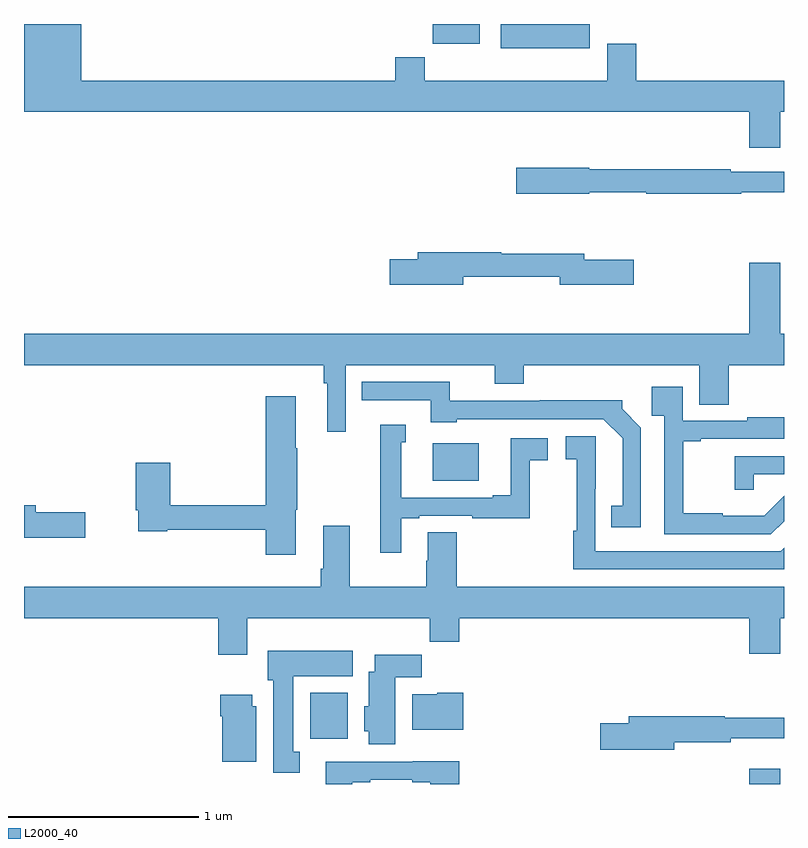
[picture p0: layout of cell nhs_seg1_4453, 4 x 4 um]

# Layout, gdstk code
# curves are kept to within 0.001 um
import gdstk
lib = gdstk.Library(unit=1e-6, precision=1e-09)
def R(c, l, rs):  # rectangles x0, y0, x1, y1
    for r in rs: c.add(gdstk.rectangle(r[:2], r[2:], *l))
def P(c, l, *ps):  # polygons
    for p in ps: c.add(gdstk.Polygon(p, *l))
L2000_40 = (2000, 40)

nhs_seg1_4453 = lib.new_cell('nhs_seg1_4453')
R(nhs_seg1_4453, L2000_40, [(356.816,544.199,356.98,544.279), (354.506,544.436,354.703,544.678), (355.151,545.795,355.393,545.992), (355.509,548.072,355.978,548.199), (355.15,548.094,355.399,548.199)])
P(nhs_seg1_4453, L2000_40, [(356.98,547.736),(357,547.736),(357,547.9),(356.222,547.9),(356.222,548.095),(356.069,548.095),(356.069,547.9),(355.109,547.9),(355.109,548.024),(354.953,548.024),(354.953,547.9),(353.302,547.9),(353.302,548.199),(353,548.199),(353,547.736),(356.816,547.736),(356.816,547.548),(356.98,547.548)],
  [(355.974,547.314),(356.274,547.314),(356.274,547.306),(356.774,547.306),(356.774,547.314),(357,547.314),(357,547.422),(356.72,547.422),(356.72,547.435),(355.974,547.435),(355.974,547.443),(355.59,547.443),(355.59,547.306),(355.974,547.306)],
  [(355.312,546.87),(355.82,546.87),(355.82,546.827),(356.209,546.827),(356.209,546.957),(355.948,546.957),(355.948,546.991),(355.511,546.991),(355.511,546.998),(355.073,546.998),(355.073,546.962),(354.924,546.962),(354.924,546.827),(355.312,546.827)],
  [(354.693,546.404),(355.478,546.404),(355.478,546.305),(355.631,546.305),(355.631,546.404),(356.555,546.404),(356.555,546.196),(356.708,546.196),(356.708,546.404),(357,546.404),(357,546.568),(356.98,546.568),(356.98,546.943),(356.816,546.943),(356.816,546.568),(353,546.568),(353,546.404),(354.577,546.404),(354.577,546.308),(354.596,546.308),(354.596,546.054),(354.693,546.054)],
  [(356.247,546.074),(356.148,546.173),(356.148,546.218),(355.714,546.218),(355.714,546.216),(355.242,546.216),(355.242,546.315),(354.778,546.315),(354.778,546.219),(355.142,546.219),(355.142,546.104),(355.278,546.104),(355.278,546.12),(356.049,546.12),(356.15,546.019),(356.15,545.663),(356.092,545.663),(356.092,545.55),(356.247,545.55)],
  [(357,545.583),(357,545.715),(356.896,545.611),(356.678,545.611),(356.678,545.623),(356.471,545.623),(356.471,546.003),(356.563,546.003),(356.563,546.015),(357,546.015),(357,546.13),(356.807,546.13),(356.807,546.111),(356.466,546.111),(356.466,546.289),(356.305,546.289),(356.305,546.137),(356.37,546.137),(356.37,545.514),(356.931,545.514)],
  [(354.43,545.643),(354.438,545.643),(354.438,545.966),(354.43,545.966),(354.43,546.241),(354.272,546.241),(354.272,545.666),(353.771,545.666),(353.771,545.89),(353.588,545.89),(353.588,545.641),(353.6,545.641),(353.6,545.53),(353.754,545.53),(353.754,545.538),(354.272,545.538),(354.272,545.406),(354.43,545.406)],
  [(354.985,545.598),(355.081,545.598),(355.081,545.61),(355.36,545.61),(355.36,545.598),(355.662,545.598),(355.662,545.902),(355.756,545.902),(355.756,546.018),(355.562,546.018),(355.562,545.719),(355.466,545.719),(355.466,545.706),(354.985,545.706),(354.985,545.997),(355.009,545.997),(355.009,546.091),(354.876,546.091),(354.876,545.659),(354.875,545.659),(354.875,545.415),(354.985,545.415)],
  [(357,545.442),(356.982,545.424),(356.007,545.424),(356.008,546.028),(355.851,546.028),(355.851,545.907),(355.909,545.907),(355.909,545.531),(355.891,545.531),(355.891,545.328),(357,545.328)],
  [(356.841,545.829),(357,545.829),(357,545.925),(356.74,545.925),(356.74,545.748),(356.841,545.748)],
  [(353.323,545.63),(353.062,545.63),(353.062,545.666),(353,545.666),(353,545.495),(353.323,545.495)],
  [(354.175,545.072),(355.135,545.072),(355.135,544.948),(355.292,544.948),(355.292,545.072),(356.816,545.072),(356.816,544.884),(356.98,544.884),(356.98,545.072),(357,545.072),(357,545.236),(355.277,545.236),(355.277,545.525),(355.124,545.525),(355.124,545.375),(355.117,545.375),(355.117,545.236),(354.715,545.236),(354.715,545.557),(354.575,545.557),(354.575,545.332),(354.563,545.332),(354.563,545.236),(353,545.236),(353,545.072),(354.023,545.072),(354.023,544.878),(354.175,544.878)],
  [(354.451,544.37),(354.418,544.37),(354.418,544.766),(354.73,544.766),(354.73,544.9),(354.284,544.9),(354.284,544.746),(354.311,544.746),(354.311,544.257),(354.451,544.257)],
  [(354.955,544.76),(355.094,544.76),(355.094,544.879),(354.845,544.879),(354.845,544.789),(354.815,544.789),(354.815,544.608),(354.791,544.608),(354.791,544.476),(354.815,544.476),(354.815,544.409),(354.955,544.409)],
  [(355.312,544.678),(355.176,544.678),(355.176,544.672),(355.043,544.672),(355.043,544.484),(355.312,544.484)],
  [(354.223,544.608),(354.202,544.608),(354.202,544.669),(354.032,544.669),(354.032,544.556),(354.044,544.556),(354.044,544.316),(354.223,544.316)],
  [(356.422,544.42),(356.72,544.42),(356.72,544.439),(357,544.439),(357,544.549),(356.687,544.549),(356.687,544.556),(356.183,544.556),(356.183,544.52),(356.034,544.52),(356.034,544.378),(356.422,544.378)],
  [(354.727,544.209),(354.823,544.209),(354.823,544.221),(355.043,544.221),(355.043,544.209),(355.139,544.209),(355.139,544.199),(355.292,544.199),(355.292,544.318),(355.047,544.318),(355.047,544.317),(354.587,544.317),(354.587,544.199),(354.727,544.199)])

lib.write_gds('nhs_seg1_4453.gds')
